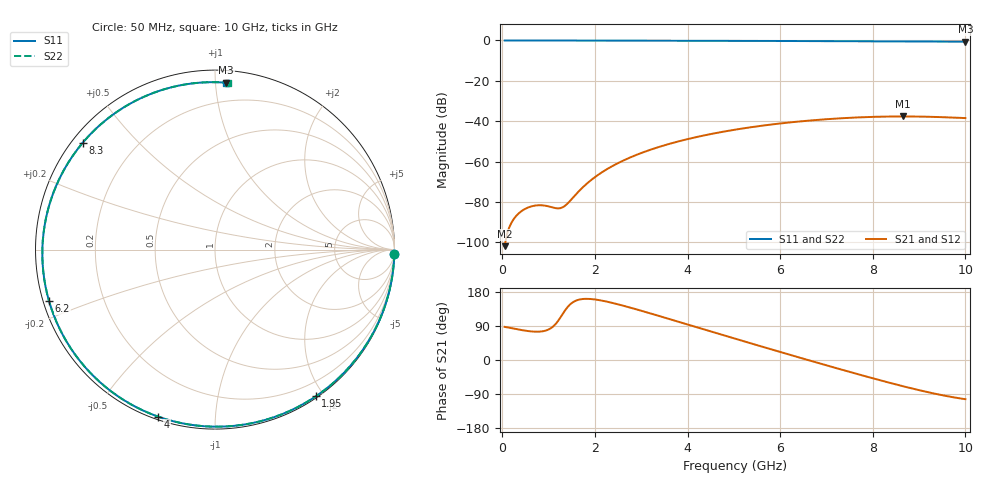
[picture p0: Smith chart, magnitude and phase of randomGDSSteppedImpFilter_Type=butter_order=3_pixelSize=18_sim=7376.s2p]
! freq	dB(S11)	phase(S11)	dB(S12)	phase(S12)
!  dB(S21)	phase(S21)	dB(S22)	phase(S22)
!S-par simulation data
#  GHz  S  DB  R 50
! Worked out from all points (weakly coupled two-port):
!   200 points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, 50 MHz to 10 GHz, reference 50 ohm
!   highest |S21| = -37.64 dB at 8.65 GHz (marker M1); lowest = -101.9 dB at 50 MHz (marker M2)
!   lowest |S11| = -0.6 dB at 10 GHz (marker M3), VSWR 28.39, Z = 3.77 + j53.3 ohm
!   |S11| at or under -10 dB: nowhere
!   |S22| runs from -0.6 to 0.0 dB; largest |S21 - S12| = 0
!   S11 on the Smith chart (normalised r, x): 50 MHz: 2, -78; 1.95 GHz: 0.02, -1.90; 4 GHz: 0.01, -0.72; 6.2 GHz: 0.02, -0.15; 8.3 GHz: 0.03, +0.35; 10 GHz: 0.08, +1.07
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0.05  -0.01 -1.5  -101.90 87.4  -101.90 87.4  -0.01 -1.5
0.7  -0.02 -20.3  -81.83 74.8  -81.83 74.8  -0.02 -20.3
1.45  -0.05 -41.7  -79.81 145.1  -79.81 145.1  -0.05 -41.7
1.75  -0.06 -50.0  -72.49 161.1  -72.49 161.1  -0.06 -50.0
1.95  -0.07 -55.5  -68.57 160.5  -68.57 160.5  -0.07 -55.5
2.25  -0.08 -63.6  -63.90 154.2  -63.90 154.2  -0.08 -63.6
2.6  -0.09 -73.0  -59.63 143.7  -59.63 143.7  -0.09 -73.0
3  -0.11 -83.5  -55.77 130.0  -55.77 130.0  -0.11 -83.5
3.4  -0.12 -93.7  -52.63 115.7  -52.63 115.7  -0.12 -93.7
4  -0.15 -108.8  -48.88 93.8  -48.88 93.8  -0.15 -108.8
4.5  -0.17 -121.1  -46.37 75.5  -46.37 75.5  -0.17 -121.1
5.05  -0.20 -134.5  -44.10 55.4  -44.10 55.4  -0.20 -134.6
5.65  -0.24 -149.1  -42.10 33.8  -42.10 33.8  -0.24 -149.2
6.2  -0.28 -162.7  -40.62 14.1  -40.62 14.1  -0.28 -162.8
6.7  -0.32 -175.3  -39.55 -3.6  -39.55 -3.6  -0.32 -175.4
7.5  -0.39 163.7  -38.32 -31.4  -38.32 -31.4  -0.39 163.5
7.9  -0.43 152.6  -37.93 -44.9  -37.93 -44.9  -0.43 152.4
8.3  -0.47 141.1  -37.71 -58.1  -37.71 -58.1  -0.47 140.8
8.35  -0.47 139.6  -37.69 -59.7  -37.69 -59.7  -0.47 139.3
8.65  -0.50 130.6  -37.64 -69.2  -37.64 -69.2  -0.50 130.3
9.35  -0.56 108.3  -37.89 -89.2  -37.89 -89.2  -0.56 107.9
10  -0.61 86.2  -38.46 -103.4  -38.46 -103.4  -0.61 85.7
